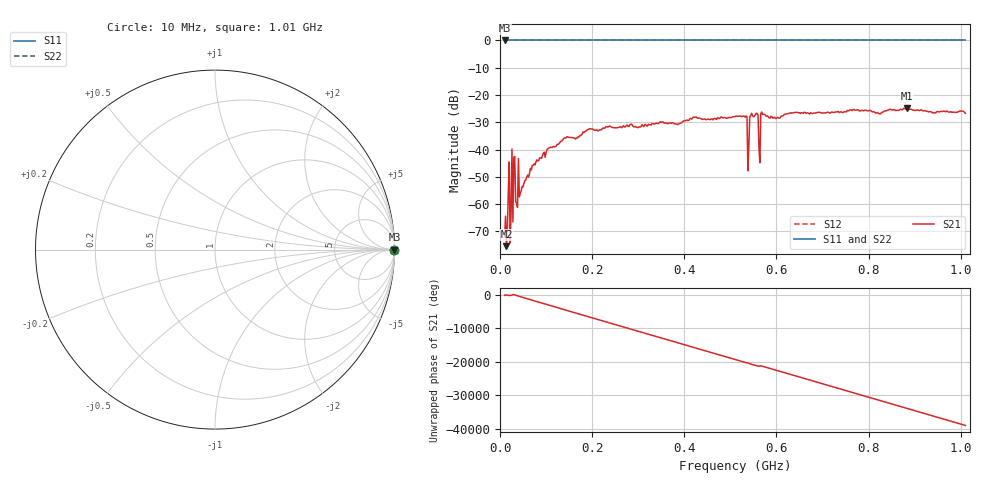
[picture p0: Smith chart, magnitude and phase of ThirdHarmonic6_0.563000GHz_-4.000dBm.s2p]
! 8/15/2025 5:58:28 PM
! C:\ANRITSUVNA\TEMP\TEMP.S2P
! CHANNEL.1
! TR.MEASUREMENT
! RAW.DATA
! RF.CORRECTION.OFF
! AVERAGING.OFF
! IF.BANDWIDTH: 5KHZ
! SWEEPTYPE:  FREQ.SWEEP(Linear)
! Reference Plane Port Info
! PORT:  PORT1  PORT2
! DISTANCE:  0  m  0  m
! TIME:  0  s  0  s
! PHASE.OFFSET:  0  deg.  0  deg.
! LOSS:  0  dB  0  dB
! REF.LOSS:  0  dB  0  dB
! REF.FREQ:  0  Hz  0  Hz
! Power Info
! POWER:  -20  dBm  -20  dBm
! EFF.POWER:  -20  dBm  -20  dBm
! SOURCE.ATTEN:  0  dB  0  dB
! TEST.ATTEN:  0  dB  0  dB
# GHZ S RI R 50.0
! FREQ.GHZ  S11RE  S11IM  S21RE  S21IM  S12RE  S12IM  S22RE  S22IM
!; PortSelection: Port_12
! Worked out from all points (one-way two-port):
!   501 points, 10 MHz to 1.01 GHz, reference 50 ohm
!   highest |S21| = -24.70 dB at 884 MHz (marker M1); lowest = -75.4 dB at 14 MHz (marker M2)
!   lowest |S11| = 0.0 dB at 10 MHz (marker M3)
!   |S11| at or under -10 dB: nowhere
!   |S22| runs from 0.0 to 0.0 dB; largest |S21 - S12| = 1.1
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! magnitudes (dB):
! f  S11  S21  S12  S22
! 10 MHz  0.0  -71.9  0.0  0.0
! 14 MHz  0.0  -75.4  0.0  0.0
! 16 MHz  0.0  -68.9  0.0  0.0
! 22 MHz  0.0  -74.2  0.0  0.0
! 26 MHz  0.0  -39.8  0.0  0.0
! 30 MHz  0.0  -42.8  0.0  0.0
! 38 MHz  0.0  -61.2  0.0  0.0
! 106 MHz  0.0  -39.5  0.0  0.0
! 178 MHz  0.0  -34.5  0.0  0.0
! 344 MHz  0.0  -30.4  0.0  0.0
! 510 MHz  0.0  -27.9  0.0  0.0
! 532 MHz  0.0  -28.1  0.0  0.0
! 536 MHz  0.0  -28.0  0.0  0.0
! 542 MHz  0.0  -28.0  0.0  0.0
! 546 MHz  0.0  -26.7  0.0  0.0
! 556 MHz  0.0  -26.8  0.0  0.0
! 562 MHz  0.0  -39.7  0.0  0.0
! 570 MHz  0.0  -27.1  0.0  0.0
! 678 MHz  0.0  -26.8  0.0  0.0
! 844 MHz  0.0  -25.4  0.0  0.0
! 884 MHz  0.0  -24.7  0.0  0.0
! 1.01 GHz  0.0  -26.7  0.0  0.0
